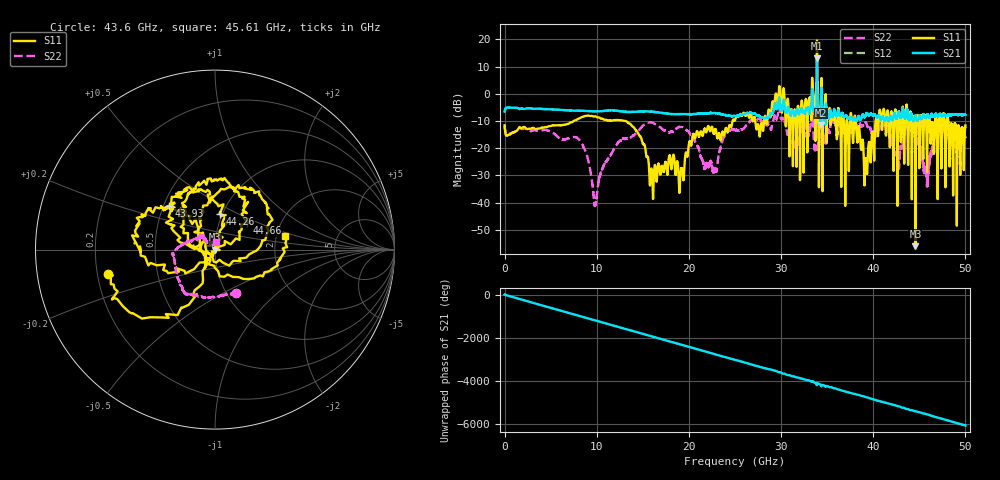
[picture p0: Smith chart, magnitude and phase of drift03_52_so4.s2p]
!Created with skrf (http://scikit-rf.org).
# Hz S RI R 50.0
!freq ReS11 ImS11 ReS21 ImS21 ReS12 ImS12 ReS22 ImS22
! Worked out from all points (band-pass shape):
!   10001 points, 300 kHz to 50 GHz, reference 50 ohm
!   highest |S21| = 13.05 dB at 33.9 GHz (marker M1); lowest = -11.4 dB at 34.32 GHz (marker M2)
!   |S21| within 3 dB of the highest: 33.88949 GHz to 33.90545 GHz (15.96 MHz wide, 0.0471 % of centre)
!   lowest |S11| = -56.0 dB at 44.58 GHz (marker M3), VSWR 1.00, Z = 49.9 - j0.0798 ohm
!   |S11| at or under -10 dB: start of sweep to 7.485 GHz; 13.14 GHz to 24.74 GHz (11.6 GHz wide, 61.2 % of centre); 38.09 GHz to 40.25 GHz (2.16 GHz wide, 5.51 % of centre) (the widest 3 of 48)
!   |S22| runs from -41.3 to 5.5 dB; largest |S21 - S12| = 0.34
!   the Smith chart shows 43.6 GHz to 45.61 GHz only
!   S11 on the Smith chart (normalised r, x): 43.6 GHz: 0.24, -0.11; 43.93 GHz: 0.53, +0.30; 44.26 GHz: 0.97, +0.40; 44.66 GHz: 1.36, +0.42; 45.61 GHz: 2.21, +0.41
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300000  -0.2356 -0.1191  0.4652 0.0779  0.4639 0.0786  -0.2337 -0.1243
1.440291e9  0.2102 0.0649  -0.548 -0.0295  -0.5481 -0.0291  0.2116 -0.00396
2.915283e9  -0.2121 -0.0878  0.5341 0.0516  0.5347 0.0516  -0.2022 0.0403
4.415274e9  0.2061 0.1321  -0.5218 -0.0422  -0.5217 -0.0424  0.1984 -0.0869
8.33525e9  0.2888 -0.233  0.1457 0.4657  0.1461 0.4664  -0.0725 -0.1011
9.840241e9  -0.3651 0.1253  -0.143 -0.4539  -0.1429 -0.4543  0.00853 0.00224
1.66702e10  0.0269 0.0437  -0.3783 0.2537  -0.3791 0.2532  -0.1277 -0.2202
2.500015e10  -0.3271 -0.0152  -0.2553 -0.2975  -0.2536 -0.299  -0.2126 0.0272
2.895013e10  -0.3234 0.4208  -0.2934 0.3226  -0.3047 0.2867  0.0616 0.2202
3.006512e10  0.4013 0.2669  0.4507 -0.1957  0.4532 -0.182  0.1756 -0.2982
3.171011e10  -0.0919 0.1864  -0.3621 0.3569  -0.3607 0.3559  0.0656 0.158
3.33351e10  0.6501 -0.8227  0.2588 -0.8561  0.2559 -0.8355  -0.1954 -0.4244
3.38951e10  -2.521 -9.263  -4.42 0.8134  -4.127 0.9803  0.4998 1.816
3.432009e10  -0.7794 0.000176  -0.1803 0.1979  -0.2429 0.1781  0.1438 -0.0722
4.167005e10  -0.202 0.299  0.3164 0.00432  0.3174 0.00947  -0.1921 -0.00461
4.360004e10  -0.5968 -0.1375  -0.1421 0.4148  -0.1503 0.4214  0.119 -0.2394
4.392504e10  -0.2582 0.2436  0.0679 0.3243  0.0702 0.3236  -0.0769 -0.2615
4.426003e10  0.0267 0.1988  0.2329 0.2479  0.2312 0.2523  -0.2018 -0.1659
4.458003e10  -0.00136 -0.0008  0.3828 0.052  0.3851 0.0541  -0.2343 -0.0126
4.465503e10  0.18 0.1463  0.3527 0.0238  0.3561 0.0244  -0.2118 0.0068
4.561003e10  0.3878 0.0783  -0.1173 -0.3486  -0.1174 -0.3531  0.00657 0.0402
5e10  -0.1213 -0.2329  0.1402 0.3854  0.1395 0.3868  -0.0513 -0.1468
